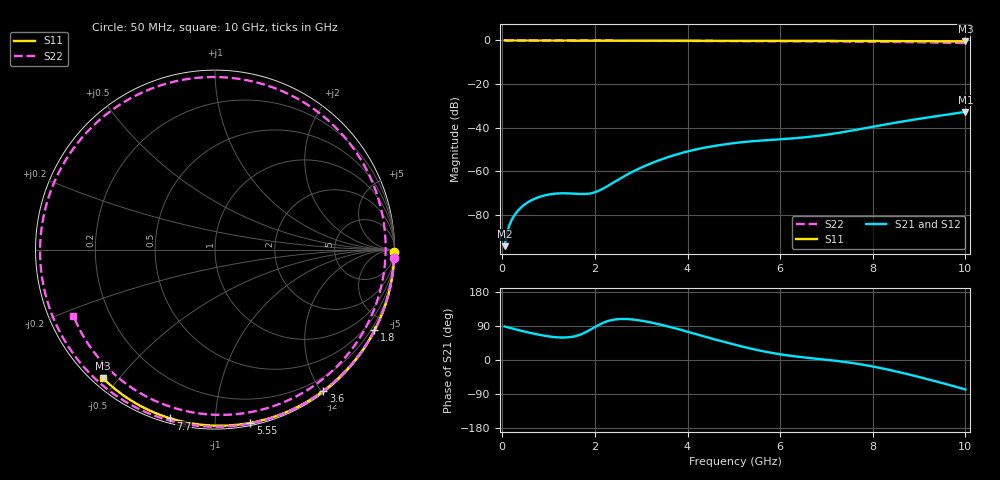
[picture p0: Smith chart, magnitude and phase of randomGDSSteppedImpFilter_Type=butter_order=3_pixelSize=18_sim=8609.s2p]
! freq	dB(S11)	phase(S11)	dB(S12)	phase(S12)
!  dB(S21)	phase(S21)	dB(S22)	phase(S22)
!S-par simulation data
#  GHz  S  DB  R 50
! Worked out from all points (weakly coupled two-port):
!   200 points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, 50 MHz to 10 GHz, reference 50 ohm
!   highest |S21| = -32.75 dB at 10 GHz (marker M1); lowest = -94.3 dB at 50 MHz (marker M2)
!   lowest |S11| = -0.4 dB at 10 GHz (marker M3), VSWR 39.14, Z = 1.54 - j22.7 ohm
!   |S11| at or under -10 dB: nowhere
!   |S22| runs from -1.2 to 0.0 dB; largest |S21 - S12| = 0
!   S11 on the Smith chart (normalised r, x): 50 MHz: open; 1.8 GHz: 0.04, -4.19; 3.6 GHz: 0.02, -2.03; 5.55 GHz: 0.02, -1.22; 7.7 GHz: 0.02, -0.77; 10 GHz: 0.03, -0.45
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0.05  -0.00 -0.8  -94.32 88.5  -94.32 88.5  -0.00 -2.6
0.25  -0.00 -3.8  -80.53 82.0  -80.53 82.0  -0.02 -12.6
0.55  -0.01 -8.3  -74.24 73.0  -74.24 73.0  -0.03 -27.7
0.9  -0.02 -13.5  -71.13 64.2  -71.13 64.2  -0.06 -45.2
1.35  -0.02 -20.2  -70.08 59.3  -70.08 59.3  -0.08 -67.4
1.75  -0.03 -26.1  -70.42 70.3  -70.42 70.3  -0.11 -86.9
1.8  -0.03 -26.9  -70.39 73.2  -70.39 73.2  -0.11 -89.3
2.1  -0.04 -31.2  -68.75 93.7  -68.75 93.7  -0.13 -103.9
2.55  -0.05 -37.7  -63.28 108.2  -63.28 108.2  -0.15 -125.8
3.4  -0.07 -49.7  -54.81 93.8  -54.81 93.8  -0.21 -168.3
3.6  -0.07 -52.5  -53.35 87.8  -53.35 87.8  -0.22 -178.6
4.3  -0.09 -62.1  -49.44 64.1  -49.44 64.1  -0.27 143.6
4.7  -0.10 -67.4  -47.98 50.7  -47.98 50.7  -0.30 120.7
5.05  -0.11 -72.0  -46.95 39.5  -46.95 39.5  -0.33 100.1
5.55  -0.13 -78.5  -45.96 25.1  -45.96 25.1  -0.36 70.1
6.15  -0.15 -86.0  -45.09 12.3  -45.09 12.3  -0.40 34.3
6.7  -0.18 -92.8  -44.03 4.4  -44.03 4.4  -0.43 2.9
7.15  -0.20 -98.2  -42.74 -1.4  -42.74 -1.4  -0.47 -21.1
7.7  -0.24 -104.8  -40.73 -10.6  -40.73 -10.6  -0.54 -48.5
8.35  -0.29 -112.3  -38.22 -25.9  -38.22 -25.9  -0.66 -78.6
9.15  -0.36 -121.5  -35.45 -49.6  -35.45 -49.6  -0.88 -114.3
10  -0.44 -131.1  -32.75 -77.9  -32.75 -77.9  -1.20 -155.0
